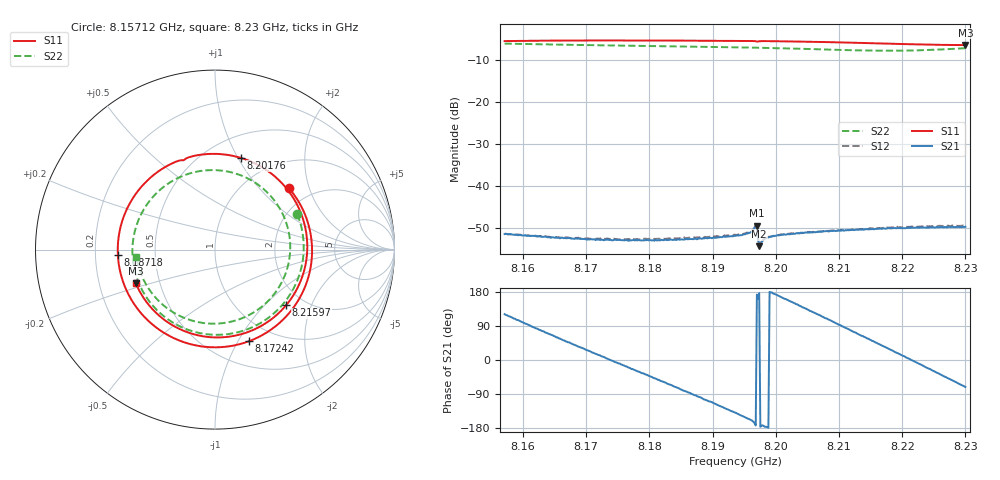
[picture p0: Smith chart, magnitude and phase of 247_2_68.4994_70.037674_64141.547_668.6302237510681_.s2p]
#  HZ  S  RI  R  50.00
! Rohde & Schwarz Vector Network Analyzer
! Rohde-Schwarz,ZNB20-2Port,1311601062101988,3.16
! Created: UTC 3/20/2024, 4:59:41 PM
! freq[Hz]  re:S11  im:S11  re:S21  im:S21  re:S12  im:S12  re:S22  im:S22
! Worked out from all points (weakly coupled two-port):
!   401 points, 8.15712 GHz to 8.23 GHz, reference 50 ohm
!   highest |S21| = -49.47 dB at 8.19702 GHz (marker M1); lowest = -54.4 dB at 8.19738 GHz (marker M2)
!   lowest |S11| = -6.4 dB at 8.23 GHz (marker M3), VSWR 2.84, Z = 18.2 - j8.86 ohm
!   |S11| at or under -10 dB: nowhere
!   |S22| runs from -7.7 to -6.0 dB; largest |S21 - S12| = 0.00024
!   S11 on the Smith chart (normalised r, x): 8.15712 GHz: 1.54, +1.48; 8.17242 GHz: 0.77, -1.11; 8.18718 GHz: 0.30, -0.02; 8.20176 GHz: 0.73, +1.03; 8.21597 GHz: 1.62, -1.35; 8.23 GHz: 0.36, -0.18
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8.157118e9  0.4117 0.3421  -0.00137 0.00229  -0.00138 0.00234  0.4582 0.1977
8.163131e9  0.5404 -0.0307  0.000595 0.00241  0.000609 0.00242  0.4636 -0.1588
8.169325e9  0.3687 -0.4  0.00198 0.00124  0.00201 0.00126  0.2257 -0.4241
8.172423e9  0.1909 -0.5099  0.00226 0.00039  0.00228 0.000415  0.0544 -0.4727
8.176977e9  -0.1157 -0.5318  0.00209 -0.000821  0.00215 -0.000831  -0.1979 -0.4266
8.181532e9  -0.387 -0.3816  0.00138 -0.00179  0.00139 -0.00188  -0.3869 -0.2583
8.18718e9  -0.5413 -0.0296  -0.000124 -0.00236  -0.000185 -0.00242  -0.4575 0.0421
8.190278e9  -0.5088 0.1833  -0.000997 -0.0022  -0.00111 -0.00226  -0.407 0.2057
8.193557e9  -0.386 0.3761  -0.00191 -0.00168  -0.00203 -0.00167  -0.2912 0.3455
8.196654e9  -0.2023 0.4951  -0.00305 -0.000722  -0.00315 -0.000611  -0.1381 0.4253
8.197019e9  -0.1764 0.4978  -0.00333 0.000429  -0.00341 0.000511  -0.1184 0.4305
8.197383e9  -0.1612 0.5079  -0.00191 0.000109  -0.00196 0.00022  -0.0984 0.4349
8.197747e9  -0.1353 0.5174  -0.00211 -0.000251  -0.00216 -0.000153  -0.0781 0.4384
8.201756e9  0.1458 0.5105  -0.00248 0.000927  -0.00242 0.00106  0.1462 0.413
8.205764e9  0.3825 0.3595  -0.00168 0.00222  -0.00166 0.00229  0.3299 0.2749
8.210865e9  0.5141 0.0285  0.000203 0.00292  0.000278 0.003  0.4184 -0.0107
8.215967e9  0.3957 -0.3104  0.00216 0.00219  0.00231 0.00215  0.2887 -0.2935
8.217971e9  0.2879 -0.4067  0.00275 0.0015  0.00285 0.00145  0.1837 -0.3676
8.220886e9  0.0928 -0.483  0.00314 0.000251  0.00324 0.000135  -0.00132 -0.4128
8.223619e9  -0.1036 -0.4754  0.00304 -0.000977  0.0031 -0.00117  -0.1804 -0.3766
8.22708e9  -0.3222 -0.3583  0.00219 -0.00234  0.00215 -0.00253  -0.3626 -0.2278
8.229996e9  -0.4415 -0.1872  0.00105 -0.00309  0.000937 -0.00322  -0.4383 -0.0406
